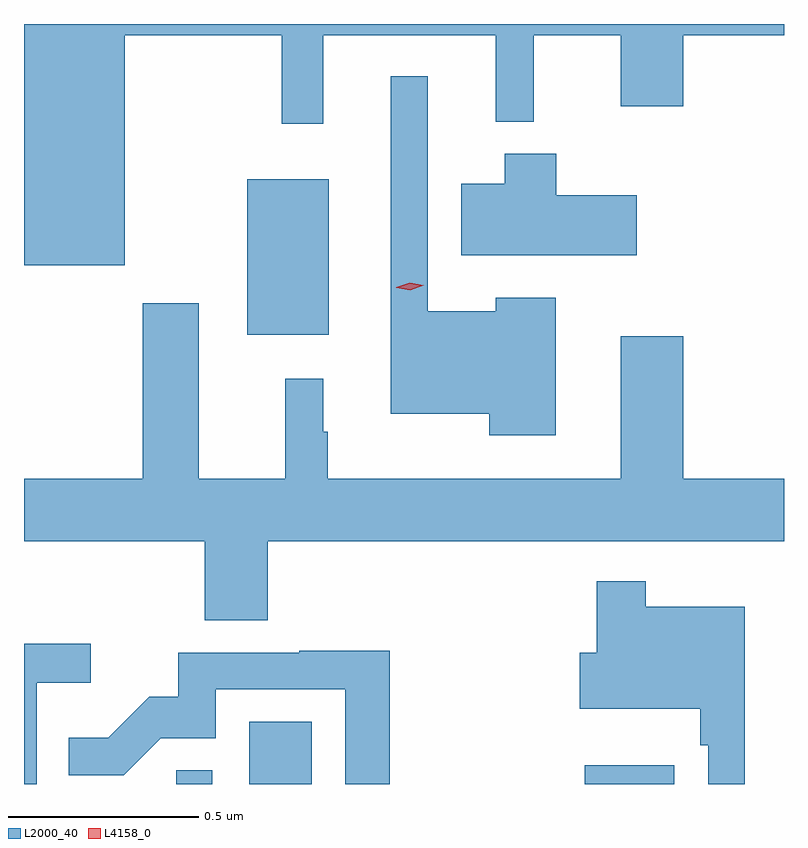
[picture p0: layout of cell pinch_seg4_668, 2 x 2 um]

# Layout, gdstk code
import gdstk
lib = gdstk.Library(unit=1e-6, precision=1e-09)
def R(c, l, rs):  # rectangles x0, y0, x1, y1
    for r in rs: c.add(gdstk.rectangle(r[:2], r[2:], *l))
def P(c, l, *ps):  # polygons
    for p in ps: c.add(gdstk.Polygon(p, *l))
L2000_40 = (2000, 40)
L4158_0 = (4158, 0)

pinch_seg4_668 = lib.new_cell('pinch_seg4_668')
R(pinch_seg4_668, L2000_40, [(1074.925,753.557,1075.02,753.593), (1075.118,753.557,1075.282,753.721), (1076,753.557,1076.236,753.607), (1075.112,754.739,1075.327,755.149)])
P(pinch_seg4_668, L2000_40, [(1074.79,755.528),(1075.203,755.528),(1075.203,755.295),(1075.313,755.295),(1075.313,755.528),(1075.766,755.528),(1075.766,755.3),(1075.866,755.3),(1075.866,755.528),(1076.096,755.528),(1076.096,755.34),(1076.26,755.34),(1076.26,755.528),(1076.525,755.528),(1076.525,755.557),(1074.525,755.557),(1074.525,754.922),(1074.79,754.922)],
  [(1075.924,754.837),(1075.766,754.837),(1075.766,754.801),(1075.587,754.801),(1075.587,755.419),(1075.49,755.419),(1075.49,754.532),(1075.749,754.532),(1075.749,754.475),(1075.924,754.475)],
  [(1076.137,755.107),(1075.925,755.107),(1075.925,755.215),(1075.79,755.215),(1075.79,755.137),(1075.676,755.137),(1075.676,754.949),(1076.137,754.949)],
  [(1075.166,754.196),(1076.525,754.196),(1076.525,754.36),(1076.26,754.36),(1076.26,754.735),(1076.096,754.735),(1076.096,754.36),(1075.324,754.36),(1075.324,754.484),(1075.312,754.484),(1075.312,754.624),(1075.213,754.624),(1075.213,754.36),(1074.985,754.36),(1074.985,754.822),(1074.838,754.822),(1074.838,754.36),(1074.525,754.36),(1074.525,754.196),(1075.001,754.196),(1075.001,753.988),(1075.166,753.988)],
  [(1076.422,754.024),(1076.161,754.024),(1076.161,754.09),(1076.032,754.09),(1076.032,753.903),(1075.988,753.903),(1075.988,753.755),(1076.305,753.755),(1076.305,753.659),(1076.325,753.659),(1076.325,753.557),(1076.422,753.557)],
  [(1074.558,753.824),(1074.7,753.824),(1074.7,753.926),(1074.525,753.926),(1074.525,753.557),(1074.558,753.557)],
  [(1075.487,753.908),(1075.249,753.908),(1075.249,753.903),(1074.931,753.903),(1074.931,753.786),(1074.854,753.786),(1074.747,753.679),(1074.643,753.679),(1074.643,753.58),(1074.787,753.58),(1074.885,753.678),(1075.029,753.678),(1075.029,753.807),(1075.371,753.807),(1075.371,753.557),(1075.487,753.557)])
P(pinch_seg4_668, L4158_0, [(1075.542,754.856),(1075.505,754.863),(1075.505,754.864),(1075.505,754.864),(1075.54,754.876),(1075.577,754.869),(1075.577,754.869),(1075.577,754.869)])

lib.write_gds('pinch_seg4_668.gds')
